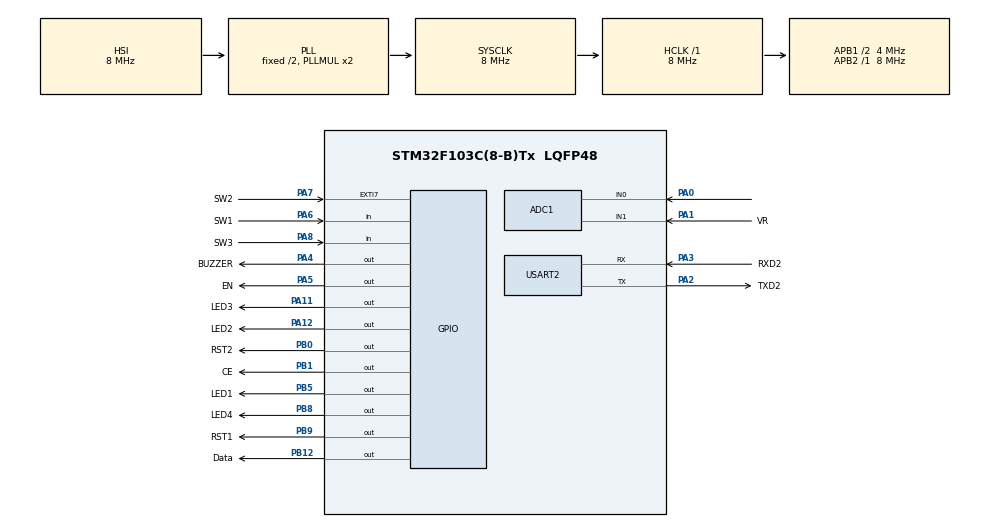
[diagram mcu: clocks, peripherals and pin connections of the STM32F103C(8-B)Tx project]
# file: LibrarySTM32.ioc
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ADC1.Channel-1\#ChannelRegularConversion=ADC_CHANNEL_1
ADC1.NbrOfConversionFlag=1
ADC1.Rank-1\#ChannelRegularConversion=1
ADC1.SamplingTime-1\#ChannelRegularConversion=ADC_SAMPLETIME_1CYCLE_5
ADC1.master=1
ADC2.Channel-1\#ChannelRegularConversion=ADC_CHANNEL_0
ADC2.NbrOfConversionFlag=1
ADC2.Rank-1\#ChannelRegularConversion=1
ADC2.SamplingTime-1\#ChannelRegularConversion=ADC_SAMPLETIME_1CYCLE_5
Mcu.Family=STM32F1
Mcu.Name=STM32F103C(8-B)Tx
Mcu.Package=LQFP48
NVIC.EXTI9_5_IRQn=true\:2\:0\:true\:false\:true\:true\:true\:true
NVIC.PriorityGroup=NVIC_PRIORITYGROUP_4
NVIC.TIM1_UP_IRQn=true\:1\:0\:true\:false\:true\:true\:true\:true
NVIC.TIM2_IRQn=true\:0\:0\:false\:false\:true\:true\:true\:true
NVIC.USART2_IRQn=true\:1\:0\:true\:false\:true\:true\:true\:true
PA0-WKUP.Signal=ADCx_IN0
PA1.GPIO_Label=VR
PA1.Signal=ADCx_IN1
PA10.GPIO_Label=RXD1
PA10.Signal=USART1_RX
PA11.GPIO_Label=LED3
PA11.Signal=GPIO_Output
PA12.GPIO_Label=LED2
PA12.Signal=GPIO_Output
PA13.GPIO_Label=JMST
PA13.Mode=Serial_Wire
PA13.Signal=SYS_JTMS-SWDIO
PA14.Mode=Serial_Wire
PA14.Signal=SYS_JTCK-SWCLK
PA15.GPIO_Label=JTDI
PA15.Signal=SYS_JTDI
PA2.GPIO_Label=TXD2
PA2.Mode=Asynchronous
PA2.Signal=USART2_TX
PA3.GPIO_Label=RXD2
PA3.Mode=Asynchronous
PA3.Signal=USART2_RX
PA4.GPIO_Label=BUZZER
PA4.Signal=GPIO_Output
PA5.GPIO_Label=EN
PA5.Signal=GPIO_Output
PA6.GPIO_Label=SW1
PA6.GPIO_PuPd=GPIO_PULLUP
PA6.Signal=GPIO_Input
PA7.GPIO_Label=SW2
PA7.GPIO_ModeDefaultEXTI=GPIO_MODE_IT_FALLING
PA7.Signal=GPXTI7
PA8.GPIO_Label=SW3
PA8.GPIO_PuPd=GPIO_PULLUP
PA8.Signal=GPIO_Input
PA9.GPIO_Label=TXD1
PA9.Signal=USART1_TX
PB0.GPIO_Label=RST2
PB0.Signal=GPIO_Output
PB1.GPIO_Label=CE
PB1.Signal=GPIO_Output
PB12.GPIO_Label=Data
PB12.Signal=GPIO_Output
PB5.GPIO_Label=LED1
PB5.Signal=GPIO_Output
PB8.GPIO_Label=LED4
PB8.Signal=GPIO_Output
PB9.GPIO_Label=RST1
PB9.Signal=GPIO_Output
PD0-OSC_IN.Mode=HSE-External-Oscillator
PD0-OSC_IN.Signal=RCC_OSC_IN
PD1-OSC_OUT.Mode=HSE-External-Oscillator
PD1-OSC_OUT.Signal=RCC_OSC_OUT
ProjectManager.HeapSize=0x200
ProjectManager.StackSize=0x400
ProjectManager.TargetToolchain=MDK-ARM V5.32
RCC.ADCPresc=RCC_ADCPCLK2_DIV6
RCC.AHBFreq_Value=8000000
RCC.APB1CLKDivider=RCC_HCLK_DIV2
RCC.APB1Freq_Value=4000000
RCC.APB1TimFreq_Value=8000000
RCC.APB2Freq_Value=8000000
RCC.APB2TimFreq_Value=8000000
RCC.HCLKFreq_Value=8000000
RCC.SYSCLKFreq_VALUE=8000000
RCC.SYSCLKSource=RCC_SYSCLKSOURCE_PLLCLK
RCC.USBFreq_Value=8000000
SH.ADCx_IN0.0=ADC1_IN0,IN0
SH.ADCx_IN0.1=ADC2_IN0,IN0
SH.ADCx_IN1.0=ADC1_IN1,IN1
TIM1.Period=999
TIM1.Prescaler=8000
TIM2.Period=10000
TIM2.Prescaler=8000
USART2.VirtualMode=VM_ASYNC
VP_TIM1_VS_ClockSourceINT.Mode=Internal
VP_TIM2_VS_ClockSourceINT.Mode=Internal
board=custom

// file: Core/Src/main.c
/* USER CODE BEGIN Header */
/**
  ******************************************************************************
  * @file           : main.c
  * @brief          : Main program body
  ******************************************************************************
  * @attention
  *
  * Copyright (c) 2023 STMicroelectronics.
  * All rights reserved.
  *
  * This software is licensed under terms that can be found in the LICENSE file
  * in the root directory of this software component.
  * If no LICENSE file comes with this software, it is provided AS-IS.
  *
  ******************************************************************************
  */
/* USER CODE END Header */
#include "main.h"

/* USER CODE BEGIN Includes */
#include <string.h>
#include "DHT.h"
#include "stdio.h"
#include "stdint.h"
#include <string.h>
 uint8_t text[] ="Hello from Cherry Electronics\n";
	char smsreciver[100];
	uint8_t count =0 ;
	uint8_t check =0;
	uint32_t readResistor1 = 0 ;
	uint32_t readResistor0 = 0 ;
	DHT_DataTypedef DHT11_Data;
	float Temp, Humi;
	long last = 0;
	int i =0;

//Code Thu vien se khТng mat khi buil cube lai

/* USER CODE END Includes */

ADC_HandleTypeDef hadc1;
ADC_HandleTypeDef hadc2;

TIM_HandleTypeDef htim1;
TIM_HandleTypeDef htim2;

UART_HandleTypeDef huart2;

/* USER CODE BEGIN PV */
void HAL_GPIO_EXTI_Callback(uint16_t GPIO_Pin) {
    if (GPIO_Pin == SW2_Pin) {
				HAL_GPIO_WritePin(LED1_GPIO_Port,LED1_Pin,GPIO_PIN_RESET);
        HAL_UART_Transmit(&huart2,text,sizeof(text),10);
    }
}
void HAL_UART_RxCpltCallback(UART_HandleTypeDef *huart)
{
    if (huart == &huart2)
    {
        if (smsreciver[count] == '\r') //  Enter
        {
            smsreciver[count] = '\0'; //  ket thuc chuoi
            check = 1; // nhan dc du lieu
							if(strcmp(smsreciver,"LEDON")== 0 || strcmp(smsreciver,"\nLEDON")== 0 || strcmp(smsreciver,"\nLEDON\n")== 0 || strcmp(smsreciver,"LEDON\n")== 0){
				HAL_GPIO_WritePin(LED1_GPIO_Port,LED1_Pin,GPIO_PIN_RESET);
				HAL_GPIO_WritePin(LED2_GPIO_Port,LED2_Pin,GPIO_PIN_RESET);
				HAL_GPIO_WritePin(LED3_GPIO_Port,LED3_Pin,GPIO_PIN_RESET);
				HAL_GPIO_WritePin(LED4_GPIO_Port,LED4_Pin,GPIO_PIN_RESET);
			}
			else{if( strcmp(smsreciver,"\nLEDOFF")== 0 || strcmp(smsreciver,"\nLEDOFF\n")== 0 || strcmp(smsreciver,"LEDOFF\n")== 0 || strcmp(smsreciver,"LEDON")== 0){
				HAL_GPIO_WritePin(LED1_GPIO_Port,LED1_Pin,GPIO_PIN_SET);
				HAL_GPIO_WritePin(LED2_GPIO_Port,LED2_Pin,GPIO_PIN_SET);
				HAL_GPIO_WritePin(LED3_GPIO_Port,LED3_Pin,GPIO_PIN_SET);
				HAL_GPIO_WritePin(LED4_GPIO_Port,LED4_Pin,GPIO_PIN_SET);
			}}
					count = 0; // Reset bo dem
        }
        else
        {
            count++;
            if (count >= 100)
            {
                count = 0; // reset de k tran bo nho
            }
        }

        // nhan ki tu tiep theo
        HAL_UART_Receive_IT(&huart2, (uint8_t*)&smsreciver[count], 1);
    }

}

/* USER CODE END PV */

void SystemClock_Config(void);
static void MX_GPIO_Init(void);
static void MX_ADC1_Init(void);
static void MX_TIM1_Init(void);
static void MX_TIM2_Init(void);
static void MX_USART2_UART_Init(void);
static void MX_ADC2_Init(void);

/* USER CODE BEGIN 0 */

#ifdef __GNUC__
	  #define PUTCHAR_PROTOTYPE int __io_putchar(int ch)
#else
		#define PUTCHAR_PROTOTYPE int fputc(int ch,FILE *f)
#endif
PUTCHAR_PROTOTYPE
{
		HAL_UART_Transmit(&huart2,(uint8_t *)&ch,1,0xFFFF);
		return ch;
}
void Read_DataDHT(void);
void Read_DataDHT (void)
{
	DHT_GetData(&DHT11_Data);
	Temp = DHT11_Data.Temperature;
	Humi = DHT11_Data.Humidity;
	last = HAL_GetTick();
	while(1)
	{
		if(HAL_GetTick() - last >= 1200)
		{

			printf("Temp: %0.2f - Humi: %0.2f\r\n",i,Temp,Humi);
			last = HAL_GetTick();

			break;
		}
	}
}

/* USER CODE END 0 */

int main(void)
{

  /* MCU Configuration--------------------------------------------------------*/

  /* Reset of all peripherals, Initializes the Flash interface and the Systick. */
  HAL_Init();

  /* Configure the system clock */
  SystemClock_Config();

  /* Initialize all configured peripherals */
  MX_GPIO_Init();
  MX_ADC1_Init();
  MX_TIM1_Init();
  MX_TIM2_Init();
  MX_USART2_UART_Init();
  MX_ADC2_Init();
  /* USER CODE BEGIN 2 */
	HAL_TIM_Base_Start_IT(&htim1);
// Config o day
	HAL_UART_Receive_IT(&huart2, (uint8_t*)&smsreciver[count], 1);

  /* USER CODE END 2 */

  /* Infinite loop */
  /* USER CODE BEGIN WHILE */
	HAL_GPIO_WritePin(BUZZER_GPIO_Port,BUZZER_Pin,GPIO_PIN_SET);
	HAL_GPIO_WritePin(LED1_GPIO_Port,LED1_Pin,GPIO_PIN_SET);
	HAL_GPIO_WritePin(LED2_GPIO_Port,LED2_Pin,GPIO_PIN_SET);
	HAL_GPIO_WritePin(LED3_GPIO_Port,LED3_Pin,GPIO_PIN_SET);
	HAL_GPIO_WritePin(LED4_GPIO_Port,LED4_Pin,GPIO_PIN_SET);
  while (1)
  {
		HAL_ADC_Start(&hadc1);
		HAL_Delay(1500);
		readResistor1 = HAL_ADC_GetValue(&hadc1)*10000/4096;

		HAL_ADC_Stop(&hadc1);

		HAL_ADC_Start(&hadc2);
		HAL_Delay(1500);
		readResistor0 = HAL_ADC_GetValue(&hadc2)*100/4096;
		HAL_ADC_Stop(&hadc2);
		HAL_UART_Transmit(&huart2,text,sizeof(text),10);
		printf("Resitor : %d \n",readResistor1);
		printf("Nhiet do : %d \n",readResistor0);
		Read_DataDHT();

    /* USER CODE END WHILE */

    /* USER CODE BEGIN 3 */
		// viet code o day
		//if(check){
		//strcat(smsreciver,"\n");
			//HAL_UART_Transmit(&huart2,(uint8_t*)smsreciver,strlen(smsreciver),1000);

			//check=0;}

	}
  /* USER CODE END 3 */
}

void SystemClock_Config(void)
{
  RCC_OscInitTypeDef RCC_OscInitStruct = {0};
  RCC_ClkInitTypeDef RCC_ClkInitStruct = {0};
  RCC_PeriphCLKInitTypeDef PeriphClkInit = {0};

  /** Initializes the RCC Oscillators according to the specified parameters
  * in the RCC_OscInitTypeDef structure.
  */
  RCC_OscInitStruct.OscillatorType = RCC_OSCILLATORTYPE_HSI;
  RCC_OscInitStruct.HSIState = RCC_HSI_ON;
  RCC_OscInitStruct.HSICalibrationValue = RCC_HSICALIBRATION_DEFAULT;
  RCC_OscInitStruct.PLL.PLLState = RCC_PLL_ON;
  RCC_OscInitStruct.PLL.PLLSource = RCC_PLLSOURCE_HSI_DIV2;
  RCC_OscInitStruct.PLL.PLLMUL = RCC_PLL_MUL2;
  if (HAL_RCC_OscConfig(&RCC_OscInitStruct) != HAL_OK)
  {
    Error_Handler();
  }

  /** Initializes the CPU, AHB and APB buses clocks
  */
  RCC_ClkInitStruct.ClockType = RCC_CLOCKTYPE_HCLK|RCC_CLOCKTYPE_SYSCLK
                              |RCC_CLOCKTYPE_PCLK1|RCC_CLOCKTYPE_PCLK2;
  RCC_ClkInitStruct.SYSCLKSource = RCC_SYSCLKSOURCE_PLLCLK;
  RCC_ClkInitStruct.AHBCLKDivider = RCC_SYSCLK_DIV1;
  RCC_ClkInitStruct.APB1CLKDivider = RCC_HCLK_DIV2;
  RCC_ClkInitStruct.APB2CLKDivider = RCC_HCLK_DIV1;

  if (HAL_RCC_ClockConfig(&RCC_ClkInitStruct, FLASH_LATENCY_0) != HAL_OK)
  {
    Error_Handler();
  }
  PeriphClkInit.PeriphClockSelection = RCC_PERIPHCLK_ADC;
  PeriphClkInit.AdcClockSelection = RCC_ADCPCLK2_DIV6;
  if (HAL_RCCEx_PeriphCLKConfig(&PeriphClkInit) != HAL_OK)
  {
    Error_Handler();
  }
}

static void MX_ADC1_Init(void)
{

  ADC_ChannelConfTypeDef sConfig = {0};

  /** Common config
  */
  hadc1.Instance = ADC1;
  hadc1.Init.ScanConvMode = ADC_SCAN_DISABLE;
  hadc1.Init.ContinuousConvMode = DISABLE;
  hadc1.Init.DiscontinuousConvMode = DISABLE;
  hadc1.Init.ExternalTrigConv = ADC_SOFTWARE_START;
  hadc1.Init.DataAlign = ADC_DATAALIGN_RIGHT;
  hadc1.Init.NbrOfConversion = 1;
  if (HAL_ADC_Init(&hadc1) != HAL_OK)
  {
    Error_Handler();
  }

  /** Configure Regular Channel
  */
  sConfig.Channel = ADC_CHANNEL_1;
  sConfig.Rank = ADC_REGULAR_RANK_1;
  sConfig.SamplingTime = ADC_SAMPLETIME_1CYCLE_5;
  if (HAL_ADC_ConfigChannel(&hadc1, &sConfig) != HAL_OK)
  {
    Error_Handler();
  }

}

static void MX_ADC2_Init(void)
{

  ADC_ChannelConfTypeDef sConfig = {0};

  /** Common config
  */
  hadc2.Instance = ADC2;
  hadc2.Init.ScanConvMode = ADC_SCAN_DISABLE;
  hadc2.Init.ContinuousConvMode = DISABLE;
  hadc2.Init.DiscontinuousConvMode = DISABLE;
  hadc2.Init.ExternalTrigConv = ADC_SOFTWARE_START;
  hadc2.Init.DataAlign = ADC_DATAALIGN_RIGHT;
  hadc2.Init.NbrOfConversion = 1;
  if (HAL_ADC_Init(&hadc2) != HAL_OK)
  {
    Error_Handler();
  }

  /** Configure Regular Channel
  */
  sConfig.Channel = ADC_CHANNEL_0;
  sConfig.Rank = ADC_REGULAR_RANK_1;
  sConfig.SamplingTime = ADC_SAMPLETIME_1CYCLE_5;
  if (HAL_ADC_ConfigChannel(&hadc2, &sConfig) != HAL_OK)
  {
    Error_Handler();
  }

}

static void MX_TIM1_Init(void)
{

  TIM_ClockConfigTypeDef sClockSourceConfig = {0};
  TIM_MasterConfigTypeDef sMasterConfig = {0};

  htim1.Instance = TIM1;
  htim1.Init.Prescaler = 8000;
  htim1.Init.CounterMode = TIM_COUNTERMODE_UP;
  htim1.Init.Period = 999;
  htim1.Init.ClockDivision = TIM_CLOCKDIVISION_DIV1;
  htim1.Init.RepetitionCounter = 0;
  htim1.Init.AutoReloadPreload = TIM_AUTORELOAD_PRELOAD_DISABLE;
  if (HAL_TIM_Base_Init(&htim1) != HAL_OK)
  {
    Error_Handler();
  }
  sClockSourceConfig.ClockSource = TIM_CLOCKSOURCE_INTERNAL;
  if (HAL_TIM_ConfigClockSource(&htim1, &sClockSourceConfig) != HAL_OK)
  {
    Error_Handler();
  }
  sMasterConfig.MasterOutputTrigger = TIM_TRGO_RESET;
  sMasterConfig.MasterSlaveMode = TIM_MASTERSLAVEMODE_DISABLE;
  if (HAL_TIMEx_MasterConfigSynchronization(&htim1, &sMasterConfig) != HAL_OK)
  {
    Error_Handler();
  }

}

static void MX_TIM2_Init(void)
{

  TIM_ClockConfigTypeDef sClockSourceConfig = {0};
  TIM_MasterConfigTypeDef sMasterConfig = {0};

  htim2.Instance = TIM2;
  htim2.Init.Prescaler = 8000;
  htim2.Init.CounterMode = TIM_COUNTERMODE_UP;
  htim2.Init.Period = 10000;
  htim2.Init.ClockDivision = TIM_CLOCKDIVISION_DIV1;
  htim2.Init.AutoReloadPreload = TIM_AUTORELOAD_PRELOAD_DISABLE;
  if (HAL_TIM_Base_Init(&htim2) != HAL_OK)
  {
    Error_Handler();
  }
  sClockSourceConfig.ClockSource = TIM_CLOCKSOURCE_INTERNAL;
  if (HAL_TIM_ConfigClockSource(&htim2, &sClockSourceConfig) != HAL_OK)
  {
    Error_Handler();
  }
  sMasterConfig.MasterOutputTrigger = TIM_TRGO_RESET;
  sMasterConfig.MasterSlaveMode = TIM_MASTERSLAVEMODE_DISABLE;
  if (HAL_TIMEx_MasterConfigSynchronization(&htim2, &sMasterConfig) != HAL_OK)
  {
    Error_Handler();
  }

}

static void MX_USART2_UART_Init(void)
{

  huart2.Instance = USART2;
  huart2.Init.BaudRate = 115200;
  huart2.Init.WordLength = UART_WORDLENGTH_8B;
  huart2.Init.StopBits = UART_STOPBITS_1;
  huart2.Init.Parity = UART_PARITY_NONE;
  huart2.Init.Mode = UART_MODE_TX_RX;
  huart2.Init.HwFlowCtl = UART_HWCONTROL_NONE;
  huart2.Init.OverSampling = UART_OVERSAMPLING_16;
  if (HAL_UART_Init(&huart2) != HAL_OK)
  {
    Error_Handler();
  }

}

static void MX_GPIO_Init(void)
{
  GPIO_InitTypeDef GPIO_InitStruct = {0};

  /* GPIO Ports Clock Enable */
  __HAL_RCC_GPIOD_CLK_ENABLE();
  __HAL_RCC_GPIOA_CLK_ENABLE();
  __HAL_RCC_GPIOB_CLK_ENABLE();

  /*Configure GPIO pin Output Level */
  HAL_GPIO_WritePin(GPIOA, BUZZER_Pin|EN_Pin|LED3_Pin|LED2_Pin, GPIO_PIN_RESET);

  /*Configure GPIO pin Output Level */
  HAL_GPIO_WritePin(GPIOB, RST2_Pin|CE_Pin|Data_Pin|LED1_Pin
                          |LED4_Pin|RST1_Pin, GPIO_PIN_RESET);

  /*Configure GPIO pins : BUZZER_Pin EN_Pin LED3_Pin LED2_Pin */
  GPIO_InitStruct.Pin = BUZZER_Pin|EN_Pin|LED3_Pin|LED2_Pin;
  GPIO_InitStruct.Mode = GPIO_MODE_OUTPUT_PP;
  GPIO_InitStruct.Pull = GPIO_NOPULL;
  GPIO_InitStruct.Speed = GPIO_SPEED_FREQ_LOW;
  HAL_GPIO_Init(GPIOA, &GPIO_InitStruct);

  /*Configure GPIO pins : SW1_Pin SW3_Pin */
  GPIO_InitStruct.Pin = SW1_Pin|SW3_Pin;
  GPIO_InitStruct.Mode = GPIO_MODE_INPUT;
  GPIO_InitStruct.Pull = GPIO_PULLUP;
  HAL_GPIO_Init(GPIOA, &GPIO_InitStruct);

  /*Configure GPIO pin : SW2_Pin */
  GPIO_InitStruct.Pin = SW2_Pin;
  GPIO_InitStruct.Mode = GPIO_MODE_IT_FALLING;
  GPIO_InitStruct.Pull = GPIO_NOPULL;
  HAL_GPIO_Init(SW2_GPIO_Port, &GPIO_InitStruct);

  /*Configure GPIO pins : RST2_Pin CE_Pin Data_Pin LED1_Pin
                           LED4_Pin RST1_Pin */
  GPIO_InitStruct.Pin = RST2_Pin|CE_Pin|Data_Pin|LED1_Pin
                          |LED4_Pin|RST1_Pin;
  GPIO_InitStruct.Mode = GPIO_MODE_OUTPUT_PP;
  GPIO_InitStruct.Pull = GPIO_NOPULL;
  GPIO_InitStruct.Speed = GPIO_SPEED_FREQ_LOW;
  HAL_GPIO_Init(GPIOB, &GPIO_InitStruct);

  /*Configure GPIO pin : TXD1_Pin */
  GPIO_InitStruct.Pin = TXD1_Pin;
  GPIO_InitStruct.Mode = GPIO_MODE_AF_PP;
  GPIO_InitStruct.Speed = GPIO_SPEED_FREQ_HIGH;
  HAL_GPIO_Init(TXD1_GPIO_Port, &GPIO_InitStruct);

  /*Configure GPIO pin : RXD1_Pin */
  GPIO_InitStruct.Pin = RXD1_Pin;
  GPIO_InitStruct.Mode = GPIO_MODE_INPUT;
  GPIO_InitStruct.Pull = GPIO_NOPULL;
  HAL_GPIO_Init(RXD1_GPIO_Port, &GPIO_InitStruct);

  /* EXTI interrupt init*/
  HAL_NVIC_SetPriority(EXTI9_5_IRQn, 2, 0);
  HAL_NVIC_EnableIRQ(EXTI9_5_IRQn);

}

void Error_Handler(void)
{
  __disable_irq();
  while (1)
  {
  }
}
